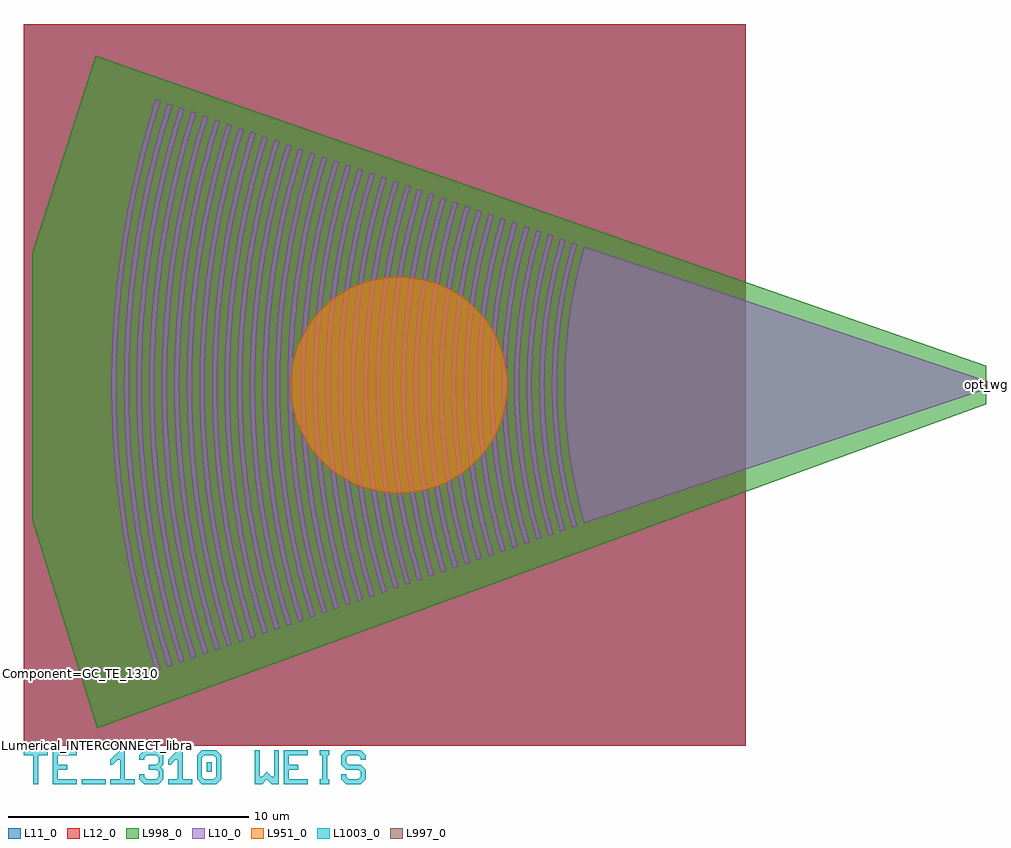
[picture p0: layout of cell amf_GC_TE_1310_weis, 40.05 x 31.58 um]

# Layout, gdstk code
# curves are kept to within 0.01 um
import gdstk
lib = gdstk.Library(unit=1e-6, precision=1e-09)
def R(c, l, rs):  # rectangles x0, y0, x1, y1
    for r in rs: c.add(gdstk.rectangle(r[:2], r[2:], *l))
def P(c, l, *ps):  # polygons
    for p in ps: c.add(gdstk.Polygon(p, *l))
L10_0 = (10, 0)
L11_0 = (11, 0)
L12_0 = (12, 0)
L951_0 = (951, 0)
L997_0 = (997, 0)
L998_0 = (998, 0)
L1003_0 = (1003, 0)

amf_gc_te_1310_weis = lib.new_cell('amf_GC_TE_1310_weis')
R(amf_gc_te_1310_weis, L10_0, [(-0.5,-0.175,0,0.175)])
P(amf_gc_te_1310_weis, L10_0, [(-17.202,-5.923),(-17.412,-5.147),(-17.592,-4.364),(-17.715,-3.735),(-17.841,-2.945),(-17.937,-2.152),(-17.992,-1.515),(-18.028,-0.878),(-18.046,-0.08),(-18.039,0.559),(-18.003,1.356),(-17.937,2.152),(-17.841,2.945),(-17.715,3.735),(-17.592,4.364),(-17.412,5.147),(-17.202,5.923),(-16.999,5.853),(-17.167,5.24),(-17.351,4.468),(-17.505,3.691),(-17.63,2.91),(-17.708,2.283),(-17.779,1.497),(-17.821,0.71),(-17.832,0.079),(-17.821,-0.71),(-17.79,-1.34),(-17.74,-1.969),(-17.63,-2.91),(-17.505,-3.691),(-17.351,-4.468),(-17.167,-5.24),(-16.999,-5.853)],
  [(-17.696,-6.093),(-17.913,-5.295),(-18.1,-4.49),(-18.255,-3.681),(-18.357,-3.03),(-18.456,-2.214),(-18.525,-1.395),(-18.557,-0.739),(-18.569,-0.082),(-18.562,0.575),(-18.525,1.395),(-18.456,2.214),(-18.357,3.03),(-18.255,3.681),(-18.1,4.49),(-17.913,5.295),(-17.696,6.093),(-17.494,6.024),(-17.668,5.393),(-17.858,4.598),(-18.017,3.799),(-18.146,2.995),(-18.227,2.35),(-18.3,1.541),(-18.337,0.893),(-18.355,0.081),(-18.343,-0.73),(-18.3,-1.541),(-18.227,-2.35),(-18.146,-2.995),(-18.017,-3.799),(-17.858,-4.598),(-17.668,-5.393),(-17.494,-6.024)],
  [(-18.191,-6.264),(-18.415,-5.443),(-18.607,-4.616),(-18.768,-3.784),(-18.873,-3.115),(-18.958,-2.444),(-19.035,-1.603),(-19.08,-0.76),(-19.092,-0.084),(-19.08,0.76),(-19.035,1.603),(-18.976,2.276),(-18.873,3.115),(-18.768,3.784),(-18.607,4.616),(-18.415,5.443),(-18.191,6.264),(-17.988,6.194),(-18.21,5.382),(-18.364,4.729),(-18.529,3.907),(-18.638,3.246),(-18.745,2.417),(-18.809,1.751),(-18.866,0.751),(-18.878,0.083),(-18.866,-0.751),(-18.833,-1.418),(-18.763,-2.251),(-18.662,-3.08),(-18.529,-3.907),(-18.364,-4.729),(-18.21,-5.382),(-17.988,-6.194)],
  [(-18.685,-6.434),(-18.873,-5.76),(-19.078,-4.913),(-19.25,-4.059),(-19.364,-3.373),(-19.476,-2.511),(-19.543,-1.82),(-19.596,-0.954),(-19.615,-0.087),(-19.602,0.78),(-19.568,1.474),(-19.495,2.338),(-19.389,3.201),(-19.25,4.059),(-19.078,4.913),(-18.873,5.76),(-18.685,6.434),(-18.483,6.364),(-18.711,5.531),(-18.907,4.691),(-19.04,4.015),(-19.178,3.166),(-19.264,2.484),(-19.343,1.629),(-19.382,0.943),(-19.401,0.086),(-19.394,-0.6),(-19.343,-1.629),(-19.264,-2.484),(-19.178,-3.166),(-19.04,-4.015),(-18.907,-4.691),(-18.711,-5.531),(-18.483,-6.364)],
  [(-19.18,-6.604),(-19.418,-5.74),(-19.584,-5.043),(-19.762,-4.167),(-19.905,-3.286),(-19.995,-2.578),(-20.077,-1.691),(-20.125,-0.801),(-20.138,-0.089),(-20.125,0.801),(-20.077,1.691),(-19.995,2.578),(-19.905,3.286),(-19.762,4.167),(-19.584,5.043),(-19.418,5.74),(-19.18,6.604),(-18.977,6.534),(-19.213,5.679),(-19.415,4.817),(-19.552,4.123),(-19.694,3.251),(-19.802,2.375),(-19.864,1.673),(-19.911,0.793),(-19.924,0.088),(-19.911,-0.793),(-19.864,-1.673),(-19.802,-2.375),(-19.694,-3.251),(-19.583,-3.949),(-19.415,-4.817),(-19.213,-5.679),(-18.977,-6.534)],
  [(-19.674,-6.774),(-19.873,-6.066),(-20.091,-5.173),(-20.273,-4.275),(-20.421,-3.371),(-20.514,-2.645),(-20.598,-1.734),(-20.64,-1.005),(-20.661,-0.091),(-20.653,0.639),(-20.611,1.552),(-20.514,2.645),(-20.421,3.371),(-20.273,4.275),(-20.091,5.173),(-19.873,6.066),(-19.674,6.774),(-19.472,6.705),(-19.759,5.651),(-19.922,4.943),(-20.064,4.231),(-20.21,3.336),(-20.321,2.438),(-20.385,1.717),(-20.434,0.814),(-20.447,0.09),(-20.434,-0.814),(-20.385,-1.717),(-20.321,-2.438),(-20.21,-3.336),(-20.064,-4.231),(-19.922,-4.943),(-19.759,-5.651),(-19.472,-6.705)],
  [(-20.169,-6.945),(-20.421,-6.036),(-20.638,-5.12),(-20.785,-4.383),(-20.937,-3.456),(-21.053,-2.525),(-21.119,-1.778),(-21.163,-1.03),(-21.184,-0.094),(-21.17,0.843),(-21.119,1.778),(-21.053,2.525),(-20.937,3.456),(-20.785,4.383),(-20.638,5.12),(-20.421,6.036),(-20.169,6.945),(-19.966,6.875),(-20.169,6.156),(-20.39,5.25),(-20.576,4.338),(-20.699,3.605),(-20.799,2.869),(-20.892,1.945),(-20.949,1.02),(-20.97,0.093),(-20.962,-0.649),(-20.919,-1.575),(-20.84,-2.5),(-20.726,-3.421),(-20.576,-4.338),(-20.39,-5.25),(-20.169,-6.156),(-19.966,-6.875)],
  [(-20.663,-7.115),(-20.874,-6.371),(-21.104,-5.434),(-21.297,-4.491),(-21.425,-3.731),(-21.551,-2.779),(-21.64,-1.822),(-21.693,-0.864),(-21.707,-0.096),(-21.693,0.864),(-21.654,1.631),(-21.572,2.588),(-21.453,3.541),(-21.297,4.491),(-21.104,5.434),(-20.874,6.371),(-20.663,7.115),(-20.461,7.045),(-20.669,6.309),(-20.896,5.381),(-21.052,4.634),(-21.214,3.695),(-21.339,2.751),(-21.427,1.804),(-21.479,0.855),(-21.493,0.095),(-21.479,-0.855),(-21.427,-1.804),(-21.339,-2.751),(-21.242,-3.506),(-21.087,-4.446),(-20.896,-5.381),(-20.669,-6.309),(-20.461,-7.045)],
  [(-21.158,-7.285),(-21.374,-6.524),(-21.61,-5.565),(-21.772,-4.792),(-21.94,-3.821),(-22.07,-2.845),(-22.162,-1.866),(-22.215,-0.884),(-22.23,-0.098),(-22.215,0.884),(-22.162,1.866),(-22.07,2.845),(-21.969,3.626),(-21.844,4.404),(-21.653,5.372),(-21.424,6.333),(-21.158,7.285),(-20.955,7.215),(-21.219,6.272),(-21.403,5.511),(-21.599,4.554),(-21.758,3.592),(-21.858,2.818),(-21.948,1.848),(-21.994,1.071),(-22.016,0.097),(-22.001,-0.876),(-21.962,-1.654),(-21.879,-2.624),(-21.758,-3.592),(-21.599,-4.554),(-21.403,-5.511),(-21.219,-6.272),(-20.955,-7.215)],
  [(-21.652,-7.455),(-21.926,-6.481),(-22.117,-5.695),(-22.32,-4.706),(-22.485,-3.712),(-22.61,-2.712),(-22.683,-1.91),(-22.738,-0.905),(-22.753,-0.101),(-22.738,0.905),(-22.683,1.91),(-22.61,2.712),(-22.485,3.712),(-22.32,4.706),(-22.117,5.695),(-21.926,6.481),(-21.652,7.455),(-21.45,7.386),(-21.72,6.42),(-21.953,5.446),(-22.147,4.466),(-22.274,3.677),(-22.398,2.687),(-22.469,1.892),(-22.524,0.897),(-22.539,0.1),(-22.524,-0.897),(-22.483,-1.693),(-22.398,-2.687),(-22.274,-3.677),(-22.147,-4.466),(-21.953,-5.446),(-21.72,-6.42),(-21.45,-7.386)],
  [(-22.147,-7.626),(-22.427,-6.629),(-22.668,-5.624),(-22.832,-4.814),(-23.001,-3.797),(-23.13,-2.774),(-23.204,-1.954),(-23.252,-1.132),(-23.276,-0.103),(-23.26,0.926),(-23.204,1.954),(-23.13,2.774),(-23.001,3.797),(-22.869,4.611),(-22.668,5.624),(-22.427,6.629),(-22.147,7.626),(-21.944,7.556),(-22.17,6.767),(-22.416,5.772),(-22.623,4.77),(-22.76,3.964),(-22.895,2.952),(-22.991,1.936),(-23.046,0.918),(-23.062,0.102),(-23.046,-0.918),(-22.991,-1.936),(-22.895,-2.952),(-22.79,-3.762),(-22.623,-4.77),(-22.416,-5.772),(-22.17,-6.767),(-21.944,-7.556)],
  [(-22.641,-7.796),(-22.929,-6.777),(-23.13,-5.956),(-23.344,-4.922),(-23.486,-4.09),(-23.626,-3.046),(-23.725,-1.998),(-23.775,-1.157),(-23.799,-0.105),(-23.783,0.947),(-23.74,1.788),(-23.649,2.837),(-23.517,3.882),(-23.344,4.922),(-23.13,5.956),(-22.929,6.777),(-22.641,7.796),(-22.439,7.726),(-22.724,6.717),(-22.922,5.903),(-23.095,5.083),(-23.275,4.054),(-23.414,3.019),(-23.512,1.98),(-23.561,1.147),(-23.585,0.104),(-23.569,-0.938),(-23.512,-1.98),(-23.437,-2.811),(-23.306,-3.847),(-23.172,-4.672),(-22.968,-5.698),(-22.724,-6.717),(-22.439,-7.726)],
  [(-23.136,-7.966),(-23.375,-7.134),(-23.636,-6.086),(-23.815,-5.242),(-24.001,-4.18),(-24.145,-3.113),(-24.246,-2.042),(-24.297,-1.183),(-24.322,-0.108),(-24.305,0.968),(-24.246,2.042),(-24.145,3.113),(-24.033,3.967),(-23.855,5.03),(-23.636,6.086),(-23.375,7.134),(-23.136,7.966),(-22.933,7.897),(-23.225,6.865),(-23.476,5.824),(-23.685,4.776),(-23.822,3.932),(-23.956,2.874),(-24.033,2.024),(-24.092,0.959),(-24.108,0.107),(-24.092,-0.959),(-24.033,-2.024),(-23.956,-2.874),(-23.822,-3.932),(-23.685,-4.776),(-23.476,-5.824),(-23.225,-6.865),(-22.933,-7.897)],
  [(-23.63,-8.137),(-23.932,-7.074),(-24.191,-6.002),(-24.407,-4.921),(-24.549,-4.052),(-24.688,-2.961),(-24.767,-2.086),(-24.828,-0.989),(-24.845,-0.11),(-24.835,0.769),(-24.783,1.866),(-24.688,2.961),(-24.549,4.052),(-24.407,4.921),(-24.191,6.002),(-23.932,7.074),(-23.63,8.137),(-23.428,8.067),(-23.727,7.013),(-23.983,5.95),(-24.158,5.094),(-24.338,4.017),(-24.475,2.936),(-24.554,2.068),(-24.606,1.198),(-24.631,0.109),(-24.621,-0.762),(-24.583,-1.633),(-24.518,-2.502),(-24.425,-3.369),(-24.271,-4.449),(-24.029,-5.736),(-23.727,-7.013),(-23.428,-8.067)],
  [(-24.125,-8.307),(-24.375,-7.44),(-24.649,-6.347),(-24.879,-5.246),(-25.065,-4.137),(-25.207,-3.024),(-25.288,-2.129),(-25.351,-1.009),(-25.368,-0.112),(-25.351,1.009),(-25.304,1.906),(-25.207,3.024),(-25.065,4.137),(-24.879,5.246),(-24.649,6.347),(-24.375,7.44),(-24.125,8.307),(-23.922,8.237),(-24.228,7.161),(-24.442,6.294),(-24.67,5.202),(-24.854,4.103),(-24.97,3.219),(-25.075,2.112),(-25.137,1.001),(-25.154,0.111),(-25.144,-0.778),(-25.105,-1.667),(-25.038,-2.555),(-24.943,-3.44),(-24.749,-4.763),(-24.538,-5.858),(-24.284,-6.945),(-23.922,-8.237)],
  [(-24.619,-8.477),(-24.935,-7.37),(-25.155,-6.478),(-25.391,-5.354),(-25.547,-4.449),(-25.701,-3.314),(-25.81,-2.173),(-25.864,-1.259),(-25.891,-0.114),(-25.873,1.03),(-25.81,2.173),(-25.701,3.314),(-25.581,4.223),(-25.391,5.354),(-25.206,6.253),(-24.935,7.37),(-24.619,8.477),(-24.417,8.407),(-24.73,7.31),(-25.047,5.979),(-25.3,4.637),(-25.462,3.512),(-25.559,2.608),(-25.613,1.929),(-25.659,1.022),(-25.677,0.114),(-25.667,-0.795),(-25.627,-1.702),(-25.559,-2.608),(-25.462,-3.512),(-25.3,-4.637),(-25.047,-5.979),(-24.73,-7.31),(-24.417,-8.407)],
  [(-25.114,-8.647),(-25.376,-7.745),(-25.662,-6.608),(-25.858,-5.692),(-26.062,-4.539),(-26.219,-3.38),(-26.331,-2.217),(-26.396,-1.051),(-26.414,-0.117),(-26.396,1.051),(-26.331,2.217),(-26.245,3.148),(-26.097,4.308),(-25.945,5.231),(-25.714,6.379),(-25.436,7.519),(-25.114,8.647),(-24.911,8.578),(-25.29,7.233),(-25.555,6.101),(-25.776,4.961),(-25.98,3.583),(-26.079,2.661),(-26.149,1.737),(-26.182,1.042),(-26.2,0.116),(-26.189,-0.811),(-26.149,-1.737),(-26.079,-2.661),(-25.98,-3.583),(-25.776,-4.961),(-25.555,-6.101),(-25.29,-7.233),(-24.911,-8.578)],
  [(-25.608,-8.818),(-25.876,-7.898),(-26.168,-6.738),(-26.369,-5.804),(-26.577,-4.629),(-26.738,-3.447),(-26.852,-2.261),(-26.909,-1.31),(-26.937,-0.119),(-26.918,1.072),(-26.852,2.261),(-26.765,3.21),(-26.613,4.393),(-26.458,5.335),(-26.221,6.505),(-25.938,7.667),(-25.608,8.818),(-25.406,8.748),(-25.733,7.606),(-26.014,6.454),(-26.248,5.293),(-26.468,3.89),(-26.577,2.95),(-26.656,2.007),(-26.705,1.063),(-26.723,0.118),(-26.712,-0.827),(-26.671,-1.771),(-26.599,-2.714),(-26.498,-3.655),(-26.329,-4.826),(-26.064,-6.222),(-25.793,-7.376),(-25.406,-8.748)],
  [(-26.103,-8.988),(-26.44,-7.815),(-26.675,-6.869),(-26.926,-5.677),(-27.129,-4.478),(-27.257,-3.514),(-27.373,-2.305),(-27.441,-1.093),(-27.46,-0.121),(-27.449,0.85),(-27.391,2.063),(-27.284,3.273),(-27.129,4.478),(-26.926,5.677),(-26.675,6.869),(-26.44,7.815),(-26.103,8.988),(-25.9,8.918),(-26.296,7.52),(-26.573,6.344),(-26.803,5.158),(-27.016,3.726),(-27.12,2.767),(-27.193,1.806),(-27.235,0.843),(-27.246,0.12),(-27.235,-0.843),(-27.193,-1.806),(-27.12,-2.767),(-27.016,-3.726),(-26.803,-5.158),(-26.573,-6.344),(-26.296,-7.52),(-25.9,-8.918)],
  [(-26.597,-9.158),(-26.941,-7.963),(-27.181,-6.999),(-27.438,-5.785),(-27.608,-4.808),(-27.776,-3.581),(-27.894,-2.349),(-27.964,-1.113),(-27.983,-0.124),(-27.964,1.113),(-27.912,2.102),(-27.803,3.335),(-27.645,4.563),(-27.438,5.785),(-27.237,6.757),(-26.941,7.963),(-26.597,9.158),(-26.395,9.088),(-26.736,7.903),(-27.082,6.465),(-27.316,5.257),(-27.503,4.042),(-27.616,3.065),(-27.699,2.086),(-27.75,1.105),(-27.769,0.123),(-27.758,-0.859),(-27.714,-1.841),(-27.64,-2.821),(-27.534,-3.798),(-27.358,-5.014),(-27.082,-6.465),(-26.736,-7.903),(-26.395,-9.088)],
  [(-27.092,-9.328),(-27.443,-8.112),(-27.688,-7.13),(-27.901,-6.141),(-28.123,-4.898),(-28.264,-3.898),(-28.395,-2.644),(-28.476,-1.386),(-28.506,-0.126),(-28.486,1.134),(-28.434,2.141),(-28.323,3.397),(-28.161,4.649),(-27.949,5.893),(-27.688,7.13),(-27.443,8.112),(-27.092,9.328),(-26.889,9.259),(-27.301,7.808),(-27.59,6.587),(-27.83,5.356),(-28.02,4.118),(-28.136,3.123),(-28.22,2.125),(-28.272,1.126),(-28.292,0.125),(-28.28,-0.876),(-28.236,-1.875),(-28.16,-2.874),(-28.052,-3.869),(-27.872,-5.109),(-27.59,-6.587),(-27.301,-7.808),(-26.889,-9.259)],
  [(-27.586,-9.499),(-27.877,-8.509),(-28.194,-7.26),(-28.412,-6.254),(-28.638,-4.988),(-28.813,-3.715),(-28.937,-2.437),(-29.009,-1.155),(-29.029,-0.128),(-29.009,1.155),(-28.937,2.437),(-28.842,3.46),(-28.677,4.734),(-28.461,6.001),(-28.252,7.009),(-27.944,8.26),(-27.586,9.499),(-27.384,9.429),(-27.739,8.199),(-28.044,6.958),(-28.344,5.455),(-28.537,4.194),(-28.656,3.181),(-28.742,2.164),(-28.795,1.146),(-28.815,0.127),(-28.803,-0.892),(-28.758,-1.91),(-28.68,-2.927),(-28.57,-3.941),(-28.344,-5.455),(-28.099,-6.708),(-27.804,-7.952),(-27.384,-9.429)],
  [(-28.081,-9.669),(-28.446,-8.408),(-28.701,-7.39),(-28.973,-6.109),(-29.193,-4.819),(-29.332,-3.782),(-29.458,-2.481),(-29.521,-1.437),(-29.552,-0.131),(-29.54,0.915),(-29.477,2.22),(-29.361,3.522),(-29.193,4.819),(-28.973,6.109),(-28.701,7.39),(-28.446,8.408),(-28.081,9.669),(-27.878,9.599),(-28.241,8.347),(-28.552,7.083),(-28.857,5.554),(-29.055,4.27),(-29.176,3.238),(-29.263,2.204),(-29.317,1.167),(-29.338,0.13),(-29.326,-0.908),(-29.28,-1.945),(-29.201,-2.98),(-29.055,-4.27),(-28.857,-5.554),(-28.552,-7.083),(-28.241,-8.347),(-27.878,-9.599)],
  [(-28.575,-9.839),(-28.877,-8.814),(-29.207,-7.521),(-29.485,-6.217),(-29.669,-5.167),(-29.85,-3.849),(-29.979,-2.524),(-30.054,-1.197),(-30.075,-0.133),(-30.054,1.197),(-29.979,2.524),(-29.85,3.849),(-29.709,4.904),(-29.485,6.217),(-29.267,7.261),(-28.947,8.556),(-28.575,9.839),(-28.373,9.77),(-28.742,8.496),(-29.059,7.209),(-29.371,5.652),(-29.572,4.346),(-29.695,3.296),(-29.785,2.243),(-29.84,1.188),(-29.861,0.132),(-29.849,-0.924),(-29.802,-1.979),(-29.721,-3.033),(-29.606,-4.084),(-29.371,-5.652),(-29.116,-6.951),(-28.81,-8.239),(-28.373,-9.77)],
  [(-29.07,-10.01),(-29.449,-8.705),(-29.714,-7.651),(-29.944,-6.591),(-30.184,-5.257),(-30.369,-3.916),(-30.5,-2.568),(-30.566,-1.488),(-30.598,-0.135),(-30.585,0.947),(-30.52,2.298),(-30.4,3.646),(-30.225,4.989),(-30.047,6.058),(-29.775,7.387),(-29.449,8.705),(-29.07,10.01),(-28.867,9.94),(-29.244,8.644),(-29.567,7.335),(-29.837,6.016),(-30.09,4.422),(-30.215,3.354),(-30.306,2.282),(-30.363,1.209),(-30.384,0.134),(-30.371,-0.94),(-30.324,-2.014),(-30.215,-3.354),(-30.09,-4.422),(-29.837,-6.016),(-29.567,-7.335),(-29.244,-8.644),(-28.867,-9.94)],
  [(-29.564,-10.18),(-29.878,-9.119),(-30.22,-7.782),(-30.455,-6.703),(-30.699,-5.347),(-30.888,-3.982),(-30.999,-2.887),(-31.088,-1.513),(-31.121,-0.138),(-31.108,0.963),(-31.041,2.338),(-30.919,3.709),(-30.741,5.074),(-30.508,6.433),(-30.22,7.782),(-29.878,9.119),(-29.564,10.18),(-29.362,10.11),(-29.745,8.792),(-30.075,7.461),(-30.398,5.85),(-30.607,4.498),(-30.735,3.411),(-30.828,2.322),(-30.885,1.23),(-30.907,0.137),(-30.894,-0.956),(-30.828,-2.322),(-30.735,-3.411),(-30.607,-4.498),(-30.398,-5.85),(-30.075,-7.461),(-29.745,-8.792),(-29.362,-10.11)],
  [(-30.059,-10.35),(-30.378,-9.272),(-30.727,-7.912),(-30.966,-6.816),(-31.214,-5.437),(-31.373,-4.327),(-31.52,-2.935),(-31.61,-1.539),(-31.644,-0.14),(-31.622,1.259),(-31.563,2.377),(-31.438,3.771),(-31.257,5.16),(-31.02,6.541),(-30.727,7.912),(-30.378,9.272),(-30.059,10.35),(-29.856,10.28),(-30.247,8.94),(-30.455,8.13),(-30.643,7.315),(-30.911,5.949),(-31.125,4.574),(-31.255,3.469),(-31.349,2.361),(-31.408,1.25),(-31.43,0.139),(-31.417,-0.973),(-31.367,-2.083),(-31.282,-3.192),(-31.125,-4.574),(-30.911,-5.949),(-30.643,-7.315),(-30.455,-8.13),(-30.247,-8.94),(-29.856,-10.28)],
  [(-30.553,-10.52),(-30.954,-9.149),(-31.233,-8.043),(-31.532,-6.649),(-31.773,-5.245),(-31.925,-4.116),(-32.063,-2.7),(-32.133,-1.564),(-32.167,-0.142),(-32.144,1.28),(-32.084,2.416),(-31.957,3.833),(-31.773,5.245),(-31.532,6.649),(-31.233,8.043),(-30.954,9.149),(-30.553,10.52),(-30.351,10.451),(-30.748,9.089),(-31.09,7.713),(-31.375,6.326),(-31.519,5.49),(-31.642,4.65),(-31.775,3.527),(-31.871,2.4),(-31.93,1.271),(-31.953,0.141),(-31.94,-0.989),(-31.889,-2.118),(-31.802,-3.245),(-31.679,-4.369),(-31.562,-5.21),(-31.425,-6.048),(-31.151,-7.437),(-30.821,-8.815),(-30.596,-9.635),(-30.351,-10.451)],
  [(-31.048,-10.691),(-31.455,-9.298),(-31.74,-8.173),(-31.987,-7.041),(-32.245,-5.616),(-32.444,-4.183),(-32.585,-2.744),(-32.667,-1.301),(-32.69,-0.145),(-32.667,1.301),(-32.585,2.744),(-32.477,3.896),(-32.289,5.33),(-32.043,6.757),(-31.74,8.173),(-31.455,9.298),(-31.048,10.691),(-30.845,10.621),(-31.25,9.237),(-31.465,8.4),(-31.66,7.558),(-31.939,6.147),(-32.16,4.726),(-32.295,3.584),(-32.392,2.439),(-32.453,1.292),(-32.476,0.144),(-32.462,-1.005),(-32.411,-2.153),(-32.295,-3.584),(-32.16,-4.726),(-31.939,-6.147),(-31.66,-7.558),(-31.465,-8.4),(-31.25,-9.237),(-30.845,-10.621)],
  [(-31.542,-10.861),(-31.957,-9.446),(-32.246,-8.303),(-32.498,-7.153),(-32.76,-5.706),(-32.963,-4.25),(-33.106,-2.788),(-33.189,-1.321),(-33.213,-0.147),(-33.189,1.321),(-33.106,2.788),(-32.963,4.25),(-32.805,5.415),(-32.61,6.575),(-32.313,8.017),(-31.957,9.446),(-31.542,10.861),(-31.34,10.791),(-31.594,9.949),(-31.827,9.102),(-32.169,7.679),(-32.452,6.245),(-32.677,4.802),(-32.814,3.642),(-32.914,2.479),(-32.976,1.313),(-32.999,0.146),(-32.976,-1.313),(-32.914,-2.479),(-32.814,-3.642),(-32.677,-4.802),(-32.452,-6.245),(-32.169,-7.679),(-31.827,-9.102),(-31.594,-9.949),(-31.34,-10.791)],
  [(-32.037,-11.031),(-32.379,-9.883),(-32.753,-8.434),(-33.009,-7.266),(-33.275,-5.795),(-33.445,-4.613),(-33.603,-3.129),(-33.7,-1.64),(-33.736,-0.149),(-33.722,1.044),(-33.649,2.534),(-33.515,4.02),(-33.321,5.5),(-33.067,6.972),(-32.753,8.434),(-32.379,9.883),(-32.037,11.031),(-31.834,10.961),(-32.253,9.533),(-32.613,8.091),(-32.8,7.22),(-32.966,6.344),(-33.194,4.878),(-33.334,3.7),(-33.435,2.518),(-33.498,1.334),(-33.522,0.148),(-33.508,-1.037),(-33.455,-2.222),(-33.363,-3.405),(-33.194,-4.878),(-32.966,-6.344),(-32.8,-7.22),(-32.613,-8.091),(-32.253,-9.533),(-31.834,-10.961)],
  [(-32.531,-11.201),(-32.96,-9.742),(-33.328,-8.268),(-33.579,-7.08),(-33.837,-5.586),(-34.035,-4.082),(-34.148,-2.876),(-34.235,-1.363),(-34.259,-0.151),(-34.235,1.363),(-34.148,2.876),(-34.035,4.082),(-33.837,5.586),(-33.579,7.08),(-33.328,8.268),(-32.96,9.742),(-32.531,11.201),(-32.329,11.132),(-32.755,9.682),(-33.12,8.217),(-33.426,6.74),(-33.58,5.849),(-33.712,4.954),(-33.854,3.757),(-33.957,2.557),(-34.021,1.355),(-34.045,0.151),(-34.031,-1.054),(-33.977,-2.257),(-33.854,-3.757),(-33.712,-4.954),(-33.58,-5.849),(-33.426,-6.74),(-33.12,-8.217),(-32.755,-9.682),(-32.329,-11.132)],
  [(-33.026,-11.372),(-33.379,-10.188),(-33.766,-8.695),(-34.09,-7.188),(-34.306,-5.975),(-34.519,-4.451),(-34.644,-3.226),(-34.745,-1.691),(-34.782,-0.154),(-34.757,1.384),(-34.692,2.613),(-34.554,4.145),(-34.353,5.671),(-34.09,7.188),(-33.766,8.695),(-33.379,10.188),(-33.026,11.372),(-32.823,11.302),(-33.256,9.83),(-33.628,8.343),(-33.821,7.444),(-33.993,6.542),(-34.229,5.03),(-34.374,3.815),(-34.478,2.596),(-34.543,1.375),(-34.568,0.153),(-34.553,-1.07),(-34.498,-2.291),(-34.404,-3.511),(-34.229,-5.03),(-33.993,-6.542),(-33.821,-7.444),(-33.628,-8.343),(-33.256,-9.83),(-32.823,-11.302)],
  [(-33.52,-11.542),(-33.963,-10.039),(-34.272,-8.825),(-34.541,-7.603),(-34.821,-6.065),(-34.999,-4.827),(-35.165,-3.275),(-35.267,-1.717),(-35.305,-0.156),(-35.28,1.405),(-35.213,2.652),(-35.073,4.207),(-34.869,5.756),(-34.602,7.296),(-34.272,8.825),(-33.963,10.039),(-33.52,11.542),(-33.318,11.472),(-33.758,9.978),(-34.135,8.469),(-34.451,6.947),(-34.61,6.028),(-34.747,5.106),(-34.894,3.873),(-35,2.636),(-35.066,1.396),(-35.091,0.155),(-35.066,-1.396),(-35,-2.636),(-34.894,-3.873),(-34.747,-5.106),(-34.61,-6.028),(-34.451,-6.947),(-34.135,-8.469),(-33.758,-9.978),(-33.318,-11.472)],
  [(-34.015,-11.712),(-34.464,-10.187),(-34.779,-8.955),(-35.114,-7.404),(-35.336,-6.154),(-35.556,-4.584),(-35.712,-3.007),(-35.802,-1.425),(-35.828,-0.158),(-35.802,1.425),(-35.712,3.007),(-35.556,4.584),(-35.385,5.841),(-35.114,7.404),(-34.779,8.955),(-34.464,10.187),(-34.015,11.712),(-33.812,11.643),(-34.259,10.126),(-34.643,8.595),(-34.964,7.05),(-35.125,6.118),(-35.264,5.182),(-35.413,3.931),(-35.522,2.675),(-35.588,1.417),(-35.614,0.157),(-35.599,-1.102),(-35.522,-2.675),(-35.413,-3.931),(-35.264,-5.182),(-35.125,-6.118),(-34.964,-7.05),(-34.643,-8.595),(-34.259,-10.126),(-33.812,-11.643)],
  [(-34.509,-11.883),(-34.88,-10.646),(-35.285,-9.086),(-35.626,-7.512),(-35.901,-5.926),(-36.112,-4.332),(-36.233,-3.051),(-36.312,-1.767),(-36.351,-0.161),(-36.325,1.446),(-36.233,3.051),(-36.112,4.332),(-35.901,5.926),(-35.626,7.512),(-35.285,9.086),(-34.88,10.646),(-34.509,11.883),(-34.307,11.813),(-34.761,10.275),(-35.151,8.721),(-35.354,7.782),(-35.534,6.838),(-35.782,5.258),(-35.933,3.988),(-36.043,2.714),(-36.111,1.438),(-36.137,0.16),(-36.122,-1.118),(-36.064,-2.395),(-35.965,-3.67),(-35.782,-5.258),(-35.534,-6.838),(-35.354,-7.782),(-35.151,-8.721),(-34.761,-10.275),(-34.307,-11.813)],
  [(-16.707,-5.753),(-16.872,-5.15),(-17.052,-4.391),(-17.203,-3.627),(-17.303,-3.014),(-17.384,-2.398),(-17.46,-1.626),(-17.506,-0.852),(-17.523,-0.077),(-17.512,0.697),(-17.482,1.316),(-17.418,2.089),(-17.325,2.86),(-17.203,3.627),(-17.052,4.391),(-16.872,5.15),(-16.707,5.753),(0,0.175),(0,-0.175)])
R(amf_gc_te_1310_weis, L11_0, [(-40,-15,-10,15)])
R(amf_gc_te_1310_weis, L12_0, [(-40,-15,-10,15)])
P(amf_gc_te_1310_weis, L951_0, [(-24.62,-4.5),(-25.06,-4.457),(-25.494,-4.37),(-25.917,-4.242),(-26.325,-4.073),(-26.715,-3.864),(-27.083,-3.619),(-27.425,-3.338),(-27.737,-3.026),(-28.018,-2.684),(-28.263,-2.316),(-28.472,-1.926),(-28.641,-1.518),(-28.769,-1.095),(-28.856,-0.661),(-28.899,-0.221),(-28.899,0.221),(-28.856,0.661),(-28.769,1.095),(-28.641,1.518),(-28.472,1.926),(-28.263,2.316),(-28.018,2.684),(-27.737,3.026),(-27.425,3.338),(-27.083,3.619),(-26.715,3.864),(-26.325,4.073),(-25.917,4.242),(-25.494,4.37),(-25.06,4.457),(-24.62,4.5),(-24.178,4.5),(-23.738,4.457),(-23.304,4.37),(-22.881,4.242),(-22.473,4.073),(-22.083,3.864),(-21.715,3.619),(-21.373,3.338),(-21.061,3.026),(-20.78,2.684),(-20.535,2.316),(-20.326,1.926),(-20.157,1.518),(-20.029,1.095),(-19.942,0.661),(-19.899,0.221),(-19.899,-0.221),(-19.942,-0.661),(-20.029,-1.095),(-20.157,-1.518),(-20.326,-1.926),(-20.535,-2.316),(-20.78,-2.684),(-21.061,-3.026),(-21.373,-3.338),(-21.715,-3.619),(-22.083,-3.864),(-22.473,-4.073),(-22.881,-4.242),(-23.304,-4.37),(-23.738,-4.457),(-24.178,-4.5)])
P(amf_gc_te_1310_weis, L998_0, [(-36.93,-14.26),(-39.65,-5.6),(-39.65,5.474),(-37.01,13.68),(0,0.8),(0,-0.8)])
R(amf_gc_te_1310_weis, L1003_0, [(-37.59,-16.58,-36.59,-16.38), (-32.39,-16.08,-32.19,-15.68)])
P(amf_gc_te_1310_weis, L1003_0, [(-39.59,-16.58),(-39.59,-15.38),(-39.99,-15.38),(-39.99,-15.18),(-38.99,-15.18),(-38.99,-15.38),(-39.39,-15.38),(-39.39,-16.58)],
  [(-38.79,-16.58),(-38.79,-15.18),(-37.79,-15.18),(-37.79,-15.38),(-38.59,-15.38),(-38.59,-15.78),(-38.19,-15.78),(-38.19,-15.98),(-38.59,-15.98),(-38.59,-16.38),(-37.79,-16.38),(-37.79,-16.58)],
  [(-36.39,-16.58),(-36.39,-16.38),(-35.99,-16.38),(-35.99,-15.58),(-36.09,-15.58),(-36.29,-15.78),(-36.39,-15.78),(-36.39,-15.58),(-35.99,-15.18),(-35.79,-15.18),(-35.79,-16.38),(-35.39,-16.38),(-35.39,-16.58)],
  [(-34.99,-16.58),(-35.19,-16.38),(-35.19,-16.18),(-34.99,-16.18),(-34.99,-16.28),(-34.89,-16.38),(-34.49,-16.38),(-34.39,-16.28),(-34.39,-16.08),(-34.49,-15.98),(-34.79,-15.98),(-34.79,-15.78),(-34.49,-15.78),(-34.39,-15.68),(-34.39,-15.48),(-34.49,-15.38),(-34.89,-15.38),(-34.99,-15.48),(-34.99,-15.58),(-35.19,-15.58),(-35.19,-15.38),(-34.99,-15.18),(-34.39,-15.18),(-34.19,-15.38),(-34.19,-15.78),(-34.29,-15.88),(-34.19,-15.98),(-34.19,-16.38),(-34.39,-16.58)],
  [(-33.99,-16.58),(-33.99,-16.38),(-33.59,-16.38),(-33.59,-15.58),(-33.69,-15.58),(-33.89,-15.78),(-33.99,-15.78),(-33.99,-15.58),(-33.59,-15.18),(-33.39,-15.18),(-33.39,-16.38),(-32.99,-16.38),(-32.99,-16.58)],
  [(-32.59,-16.58),(-32.79,-16.38),(-32.79,-15.38),(-32.59,-15.18),(-31.99,-15.18),(-31.79,-15.38),(-32.49,-15.38),(-32.59,-15.48),(-32.59,-16.28),(-32.49,-16.38),(-32.09,-16.38),(-31.99,-16.28),(-31.99,-15.48),(-32.09,-15.38),(-31.79,-15.38),(-31.79,-16.38),(-31.99,-16.58)],
  [(-30.39,-16.58),(-30.39,-15.18),(-30.19,-15.18),(-30.19,-16.28),(-30.09,-16.28),(-29.89,-16.08),(-29.69,-16.28),(-29.59,-16.28),(-29.59,-15.18),(-29.39,-15.18),(-29.39,-16.58),(-29.69,-16.58),(-29.89,-16.38),(-30.09,-16.58)],
  [(-29.19,-16.58),(-29.19,-15.18),(-28.19,-15.18),(-28.19,-15.38),(-28.99,-15.38),(-28.99,-15.78),(-28.59,-15.78),(-28.59,-15.98),(-28.99,-15.98),(-28.99,-16.38),(-28.19,-16.38),(-28.19,-16.58)],
  [(-27.69,-16.58),(-27.69,-16.38),(-27.59,-16.38),(-27.59,-15.38),(-27.69,-15.38),(-27.69,-15.18),(-27.29,-15.18),(-27.29,-15.38),(-27.39,-15.38),(-27.39,-16.38),(-27.29,-16.38),(-27.29,-16.58)],
  [(-26.59,-16.58),(-26.79,-16.38),(-26.79,-16.18),(-26.59,-16.18),(-26.59,-16.28),(-26.49,-16.38),(-26.09,-16.38),(-25.99,-16.28),(-25.99,-16.08),(-26.09,-15.98),(-26.59,-15.98),(-26.79,-15.78),(-26.79,-15.38),(-26.59,-15.18),(-25.99,-15.18),(-25.79,-15.38),(-25.79,-15.58),(-25.99,-15.58),(-25.99,-15.48),(-26.09,-15.38),(-26.49,-15.38),(-26.59,-15.48),(-26.59,-15.68),(-26.49,-15.78),(-25.99,-15.78),(-25.79,-15.98),(-25.79,-16.38),(-25.99,-16.58)])
amf_gc_te_1310_weis.add(gdstk.FlexPath([(-0.05,0),(0.05,0)], 0.35, ends="flush", simple_path=True, layer=997, datatype=0))  # L997_0
amf_gc_te_1310_weis.add(gdstk.Label('opt_wg', (0,0), layer=997, texttype=0))
amf_gc_te_1310_weis.add(gdstk.Label('Component=GC_TE_1310', (-39,-12), layer=998, texttype=0))
amf_gc_te_1310_weis.add(gdstk.Label('Lumerical_INTERCONNECT_library=Design kits/SiEPIC_AMF', (-39,-15), layer=998, texttype=0))

lib.write_gds('amf_GC_TE_1310_weis.gds')
